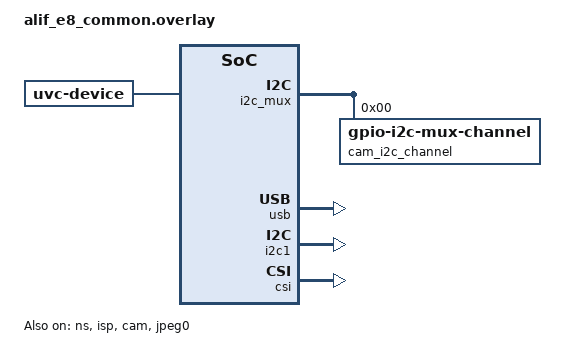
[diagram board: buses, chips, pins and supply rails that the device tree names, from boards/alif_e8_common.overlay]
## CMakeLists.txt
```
# Copyright (C) 2026 Alif Semiconductor
# SPDX-License-Identifier: Apache-2.0

cmake_minimum_required(VERSION 3.20.0)
find_package(Zephyr REQUIRED HINTS $ENV{ZEPHYR_BASE})
project(video_uvc)

include(${ZEPHYR_BASE}/samples/subsys/usb/common/common.cmake)
FILE(GLOB app_sources src/*c)
target_sources(app PRIVATE ${app_sources})
```

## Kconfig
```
# Copyright (C) 2026 Alif Semiconductor
# SPDX-License-Identifier: Apache-2.0

# Source common USB sample options used to initialize USB device stack.
source "samples/subsys/usb/common/Kconfig.sample_usbd"

source "Kconfig.zephyr"
```

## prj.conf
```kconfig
# Copyright (C) 2026 Alif Semiconductor
# SPDX-License-Identifier: Apache-2.0

# Video
CONFIG_VIDEO=y
CONFIG_LOG=y
CONFIG_PRINTK=y
CONFIG_STDOUT_CONSOLE=y
CONFIG_I2C=y
CONFIG_I2C_DW_CLOCK_SPEED=100
CONFIG_SYS_HEAP_AUTO=y

# USB device stack (new stack, required for DWC3) with the in-tree USB Video
# Class. The webcam is the "uvc" devicetree node (compatible zephyr,uvc-device)
# and streams from the connected video device (LP-CAM RGB565, or the JPEG
# encoder's MJPEG output on the E8).
CONFIG_USB_DEVICE_STACK_NEXT=y
CONFIG_USBD_VIDEO_CLASS=y
CONFIG_SAMPLE_USBD_PID=0x0009
CONFIG_SAMPLE_USBD_PRODUCT="Alif UVC Video Capture"
# Main thread runs the capture loop (and, on the E8 ISP+JPEG target, the ISP /
# JPEG library calls), so give it comfortable headroom.
CONFIG_MAIN_STACK_SIZE=4096

# The UVC class streams frames from its own buffer pool
# (CONFIG_USBD_VIDEO_NUM_BUFS); this pool serves the control endpoint and the
# USB device stack. The defaults have ample headroom for the control traffic.
CONFIG_UDC_BUF_POOL_SIZE=8192
CONFIG_UDC_BUF_COUNT=16

# Quiet the USB stack - keep warnings/errors but drop the per-transfer INFOs.
CONFIG_UDC_DRIVER_LOG_LEVEL_ERR=y
CONFIG_USBD_LOG_LEVEL_ERR=y

# Keep the video drivers (CPI / ISP / JPEG) at warning level. Raise to
# CONFIG_VIDEO_LOG_LEVEL_DBG=y only when diagnosing a capture-side issue - the
# ISP logs several messages per frame at debug level.
CONFIG_VIDEO_LOG_LEVEL_WRN=y
```

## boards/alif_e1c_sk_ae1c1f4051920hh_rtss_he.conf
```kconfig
# Video capture pool. SZ_MAX is the per-buffer max size (one RGB565 480x272
# frame = 261120 bytes, plus k_heap bookkeeping); NUM_MAX is the buffer count.
# The pool reserves NUM_MAX x SZ_MAX, so this is 2 x ~256K = ~512K. Two buffers
# are needed so the LP-CAM driver keeps one armed while the other is streamed
# over USB, avoiding a per-frame sensor power-cycle (see N_CAPTURE_BUFFERS in
# main.c). Lives in the NON_SECURE0 region (.overlay), which has room (768K).
CONFIG_VIDEO_BUFFER_POOL_SZ_MAX=262656
CONFIG_VIDEO_BUFFER_POOL_NUM_MAX=2
```

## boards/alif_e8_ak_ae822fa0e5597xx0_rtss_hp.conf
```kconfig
# E8 AK (RTSS-HP): MIPI CSI-2 sensor -> ISP -> JPEG encoder -> MJPEG over UVC.
#
# Applied automatically by board name for every E8 AK build. The devicetree
# plumbing lives in alif_e8_common.overlay, passed ahead of the sensor overlay.
# This file holds the Kconfig shared by all three sensors (ARX3A0 / MT9M114 /
# OV5675). The chosen sensor's overlay is passed with EXTRA_DTC_OVERLAY_FILE
# and its per-sensor .conf (arx3a0.conf / mt9m114.conf / ov5675.conf, which size
# the video buffer pool for that sensor's resolution) is passed with
# OVERLAY_CONFIG. There is no default sensor. See the README.

# Camera controller extended features (CSI-2 / ISP forwarding path).
CONFIG_VIDEO_ALIF_CAM_EXTENDED=y
CONFIG_MIPI_DSI=y

# Alif ISP (vsi_isp_pico) processing library. Demosaic + scaler are enough to
# turn the sensor's RAW10 Bayer into NV12; colour-correction / white-balance
# modules are left off to keep it lean.
CONFIG_USE_ALIF_ISP_LIB=y
CONFIG_ISP_LIB_SCALAR_MODULE=y
CONFIG_ISP_LIB_DMSC_MODULE=y
CONFIG_ISP_LIB_CCM_MODULE=n
CONFIG_ISP_LIB_WBM_MODULE=n
CONFIG_ISP_LIB_WB_MODULE=n

# Hantro VC9000E JPEG hardware encoder + its software helper library.
CONFIG_VIDEO_JPEG_HANTRO_VC9000E=y
CONFIG_USE_ALIF_JPEG_SW_LIB=y
```

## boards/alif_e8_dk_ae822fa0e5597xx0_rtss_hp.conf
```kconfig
# E8 DK (RTSS-HP): MIPI CSI-2 sensor -> ISP -> JPEG encoder -> MJPEG over UVC.
#
# Applied automatically by board name for every E8 DK build. The devicetree
# plumbing lives in alif_e8_common.overlay, passed ahead of the sensor overlay.
# This file holds the Kconfig shared by all three sensors (ARX3A0 / MT9M114 /
# OV5675). The chosen sensor's overlay is passed with EXTRA_DTC_OVERLAY_FILE
# and its per-sensor .conf (arx3a0.conf / mt9m114.conf / ov5675.conf, which size
# the video buffer pool for that sensor's resolution) is passed with
# OVERLAY_CONFIG. There is no default sensor. See the README.

# Camera controller extended features (CSI-2 / ISP forwarding path).
CONFIG_VIDEO_ALIF_CAM_EXTENDED=y
CONFIG_MIPI_DSI=y

# Alif ISP (vsi_isp_pico) processing library. Demosaic + scaler are enough to
# turn the sensor's RAW10 Bayer into NV12; colour-correction / white-balance
# modules are left off to keep it lean.
CONFIG_USE_ALIF_ISP_LIB=y
CONFIG_ISP_LIB_SCALAR_MODULE=y
CONFIG_ISP_LIB_DMSC_MODULE=y
CONFIG_ISP_LIB_CCM_MODULE=n
CONFIG_ISP_LIB_WBM_MODULE=n
CONFIG_ISP_LIB_WB_MODULE=n

# Hantro VC9000E JPEG hardware encoder + its software helper library.
CONFIG_VIDEO_JPEG_HANTRO_VC9000E=y
CONFIG_USE_ALIF_JPEG_SW_LIB=y
```

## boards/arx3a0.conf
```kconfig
# Extra Kconfig for the E8 DK ARX3A0 build. Pass with OVERLAY_CONFIG alongside
# the ARX3A0 DTC overlay (see README). The E8 board .conf (ISP lib + JPEG) is
# applied automatically by board name and still holds; this file only sizes the
# video buffer pool for the ARX3A0 pipeline.

# Video buffer pool for the 560x560 ARX3A0 pipeline. The pool holds TWO NV12
# 560x560 frames (2 x 560*560*1.5 = 940,800 B - two are needed so the ISP keeps
# capturing while one frame is JPEG-encoded and sent) plus one JPEG output
# buffer (width*height = 313,600 B), three allocations totalling ~1.25 MB.
# NUM_MAX is the buffer count (must be >= 3); SZ_MAX x NUM_MAX is the heap
# total, 470,000 x 3 = 1.41 MB, comfortably within SRAM0.
CONFIG_VIDEO_BUFFER_POOL_NUM_MAX=3
CONFIG_VIDEO_BUFFER_POOL_SZ_MAX=470000
```

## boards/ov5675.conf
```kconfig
# Extra Kconfig for the E8 DK OV5675 build. Pass with OVERLAY_CONFIG alongside
# the OV5675 DTC overlay (see README). The E8 board .conf (ISP lib + scaler +
# JPEG) is applied automatically by board name and still holds; this file only
# resizes the video buffer pool for the OV5675 pipeline.
#
# Unlike the MT9M114, the OV5675 module is powered by plain power-gpios on the
# sensor node (no fixed regulator) and sits at I2C address 0x10, which does not
# collide with the MW405 display's GT911 touch controller. So this build needs
# neither CONFIG_REGULATOR nor the GT911 reset-hold GPIO hog / CONFIG_GPIO_HOGS.

# Video buffer pool for the OV5675 pipeline. The OV5675 streams its full-FOV
# 1296x972 RAW10 mode; the ISP scaler downscales it to 1024x768 NV12 (see the
# overlay). The pool holds TWO NV12 1024x768 frames (2 x 1024*768*1.5 =
# 2,359,296 B - two are needed so the ISP keeps capturing while one frame is
# JPEG-encoded and sent) plus the JPEG output buffer (width*height = 786,432 B).
# That is three allocations totalling ~3.15 MB, so NUM_MAX must be >= 3.
# SZ_MAX x NUM_MAX is the total heap: 1,150,000 x 3 = 3.45 MB holds all three
# with headroom and fits SRAM0 (4 MB).
CONFIG_VIDEO_BUFFER_POOL_SZ_MAX=1150000
CONFIG_VIDEO_BUFFER_POOL_NUM_MAX=3
```

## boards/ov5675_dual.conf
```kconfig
# Extra Kconfig for the E8 DK dual OV5675 build. Pass with EXTRA_CONF_FILE
# alongside the dual OV5675 DTC overlay (see README). The E8 board .conf (ISP
# lib + scaler + JPEG) is applied automatically by board name and still holds.

# Video buffer pool for the dual OV5675 pipeline. The two sensors share the
# capture pipeline and are captured one frame at a time, so one NV12 1024x768
# capture buffer (1,179,648 B) is enough; each camera has its own JPEG output
# buffer (2 x 786,432 B) so one frame can be streamed over USB while the other
# camera captures. That is three allocations totalling ~2.75 MB, so NUM_MAX
# must be >= 3. SZ_MAX x NUM_MAX is the total heap: 1,150,000 x 3 = 3.45 MB
# holds all three with headroom and fits SRAM0 (4 MB).
CONFIG_VIDEO_BUFFER_POOL_SZ_MAX=1150000
CONFIG_VIDEO_BUFFER_POOL_NUM_MAX=3

# The D-PHY driver logs every camera switch at info level; switching happens on
# every frame here.
CONFIG_MIPI_DPHY_LOG_LEVEL_WRN=y
```

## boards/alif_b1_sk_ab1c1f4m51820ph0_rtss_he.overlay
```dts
/* Copyright (C) 2026 Alif Semiconductor - All Rights Reserved.
 * Use, distribution and modification of this code is permitted under the
 * terms stated in the Alif Semiconductor Software License Agreement
 *
 * You should have received a copy of the Alif Semiconductor Software
 * License Agreement with this file. If not, please write to:
 * contact@alifsemi.com, or visit: https://alifsemi.com/license
 *
 * B1 SK UVC pipeline: OV5640 (parallel) -> LP-CAM -> RGB565 480x272 -> UVC.
 *
 * The board-specific part is only the pinctrl header; the whole pipeline is
 * shared with the E1C SK in lpcam_ov5640_uvc.dtsi (included below).
 */

#include <dt-bindings/pinctrl/balletto-pinctrl.h>

#include "lpcam_ov5640_uvc.dtsi"
```

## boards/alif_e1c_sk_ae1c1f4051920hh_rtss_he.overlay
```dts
/* Copyright (C) 2026 Alif Semiconductor - All Rights Reserved.
 * Use, distribution and modification of this code is permitted under the
 * terms stated in the Alif Semiconductor Software License Agreement
 *
 * You should have received a copy of the Alif Semiconductor Software
 * License Agreement with this file. If not, please write to:
 * contact@alifsemi.com, or visit: https://alifsemi.com/license
 *
 * E1C SK UVC pipeline: OV5640 (parallel) -> LP-CAM -> RGB565 480x272 -> UVC.
 *
 * The board-specific part is only the pinctrl header; the whole pipeline is
 * shared with the B1 SK in lpcam_ov5640_uvc.dtsi (included below).
 */

#include <dt-bindings/pinctrl/ensemble-e1c-pinctrl.h>

#include "lpcam_ov5640_uvc.dtsi"
```

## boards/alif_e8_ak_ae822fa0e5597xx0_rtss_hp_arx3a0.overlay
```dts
/* Copyright (C) 2026 Alif Semiconductor - All Rights Reserved.
 * Use, distribution and modification of this code are permitted under the
 * terms stated in the Alif Semiconductor Software License Agreement.
 *
 * You should have received a copy of the Alif Semiconductor Software
 * License Agreement with this file. If not, please write to:
 * contact@alifsemi.com, or visit: https://alifsemi.com/license
 *
 */

#include "alif_e8_common.overlay"
#include "alif_e8_common_arx3a0.overlay"
```

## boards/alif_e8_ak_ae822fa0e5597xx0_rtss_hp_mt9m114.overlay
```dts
/* Copyright (C) 2026 Alif Semiconductor - All Rights Reserved.
 * Use, distribution and modification of this code are permitted under the
 * terms stated in the Alif Semiconductor Software License Agreement.
 *
 * You should have received a copy of the Alif Semiconductor Software
 * License Agreement with this file. If not, please write to:
 * contact@alifsemi.com, or visit: https://alifsemi.com/license
 *
 */

#include "alif_e8_common.overlay"
#include "alif_e8_common_mt9m114.overlay"
```

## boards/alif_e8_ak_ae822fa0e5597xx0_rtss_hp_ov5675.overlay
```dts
/* Copyright (C) 2026 Alif Semiconductor - All Rights Reserved.
 * Use, distribution and modification of this code are permitted under the
 * terms stated in the Alif Semiconductor Software License Agreement.
 *
 * You should have received a copy of the Alif Semiconductor Software
 * License Agreement with this file. If not, please write to:
 * contact@alifsemi.com, or visit: https://alifsemi.com/license
 *
 */

#include "alif_e8_common.overlay"
#include "alif_e8_common_ov5675.overlay"
```

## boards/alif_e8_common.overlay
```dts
/* Copyright (C) 2026 Alif Semiconductor - All Rights Reserved.
 * Use, distribution and modification of this code are permitted under the
 * terms stated in the Alif Semiconductor Software License Agreement.
 *
 * You should have received a copy of the Alif Semiconductor Software
 * License Agreement with this file. If not, please write to:
 * contact@alifsemi.com, or visit: https://alifsemi.com/license
 *
 * E8 DK/AK (RTSS-HP) UVC pipeline - common board plumbing shared by all sensors.
 *
 * Passed with EXTRA_DTC_OVERLAY_FILE ahead of the sensor overlay (it is not
 * applied by board name). It holds everything that is identical for the
 * ARX3A0 / MT9M114 / OV5675 pipelines: the USB device controller, the
 * non-secure DTCM region, the AIPM run profile (PHY / clock gating), the ISP
 * and camera (CPI) forwarding graph, the CSI receiver (minus the sensor-facing
 * input endpoint), the i2c-mux that carries the camera I2C, the Hantro JPEG
 * encoder and the UVC device.
 *
 * It deliberately wires NO sensor: the E8 DK/AK has no default camera. Pick one by
 * listing its sensor overlay after this file in EXTRA_DTC_OVERLAY_FILE
 * (alif_e8_common_arx3a0 / _mt9m114 / _ov5675 - see the README). The sensor
 * overlay drops the sensor node into the i2c-mux channel (&cam_i2c_channel) and
 * supplies the CSI input endpoint (&csi port@0) with the sensor's lane count.
 */

#include <dt-bindings/pinctrl/ensemble-pinctrl.h>
#include <dt-bindings/i2c/i2c.h>
#include <dt-bindings/gpio/gpio.h>
#include <dt-bindings/video/video-interfaces.h>
#include <zephyr/dt-bindings/clock/alif_ensemble_clocks.h>
#include <dt-bindings/misc/alif_aipm_common.h>

/*
 * AIPM run profile. On the Ensemble gen2 (E8) the SE run profile - including
 * which PHYs are powered - is driven from this devicetree node, not only from
 * the app-code se_service call. The default leaves phy-pwr-gating at 0, so the
 * USB PHY is unpowered and the DWC3 controller cannot complete control
 * transfers (the host sees a high-speed device but every GET_DESCRIPTOR fails).
 * Power the USB PHY here, together with the MIPI D-PHY the CSI-2 link needs and
 * the camera / CSI IP clocks, so both the camera pipeline and USB come up
 * regardless of which mechanism is authoritative.
 */
&aipm_run_default {
	phy-pwr-gating = <(ALIF_PHY_GATE_LDO_MASK |
			   ALIF_PHY_GATE_USB_MASK |
			   ALIF_PHY_GATE_MIPI_TX_DPHY_MASK |
			   ALIF_PHY_GATE_MIPI_RX_DPHY_MASK |
			   ALIF_PHY_GATE_MIPI_PLL_DPHY_MASK)>;
	ip-clock-gating = <(ALIF_IP_CLK_GATE_CAMERA_MASK |
			    ALIF_IP_CLK_GATE_MIPI_DSI_MASK |
			    ALIF_IP_CLK_GATE_MIPI_CSI_MASK)>;
};

/*
 * Enable the NON_SECURE0 region (DTCM). This is REQUIRED for USB: the DWC3
 * controller is a bus master that issues non-secure accesses, so its DMA
 * structures (event buffer, TRBs, setup packet, the UDC net_buf pool) must
 * live in non-secure memory. The SoC linker fragment alif_ns.ld collects those
 * USB/UDC buffers into NON_SECURE0 only when this node is enabled; leaving it
 * disabled leaves them in secure DTCM, the controller cannot read/write them,
 * and enumeration fails (host: descriptor read error -71 / -110).
 *
 * The video capture / JPEG buffers stay in SRAM0 (claimed there by sram.ld,
 * which the ISP and JPEG masters can access), so the large NV12 + JPEG pool
 * does not need to fit in this small DTCM window - only the USB buffers land
 * here. NON_SECURE0 must remain in DTCM: the boot-time TGU setup
 * (modules/hal/alif tgu.c) marks it non-secure using DTCM-relative block
 * indices, so an SRAM base would corrupt the TGU LUT.
 */
&ns {
	status = "okay";
};

/*
 * USB device controller (DWC3). The E8 SoC devicetree already provides this
 * node: it is inherited from e1.dtsi (via e3_e5_e7.dtsi -> e4_e6_e8.dtsi, which
 * also overrides num-out-eps/num-in-eps to 5/11 for the E8), and is only left
 * status = "disabled" by default. So, exactly like the E1C/B1 sample overlays,
 * just enable it here and label it zephyr_udc0 so the USB device stack picks it
 * up. The clocks are re-listed to add the SDC gate alongside the USB clock.
 */
zephyr_udc0: &usb {
	clocks = <&clockctrl ALIF_SDC_CLK>, <&clockctrl ALIF_USB_CLK>;
	status = "okay";
};

/*
 * Camera I2C bus. Sensors that need Fast-mode I2C (MT9M114, OV5675) raise the
 * speed in their own overlay; the ARX3A0 runs at the default Standard speed.
 */
&i2c1 {
	status = "okay";
};

&gpio7 {
	status = "okay";
};

&gpio14 {
	status = "okay";
};

/*
 * GPIO-controlled I2C mux that fronts the camera bus. The sensor node is added
 * to the mux channel (&cam_i2c_channel) by the sensor overlay; the mux and
 * channel scaffolding are identical for every sensor.
 */
/ {
	i2c_mux: i2c-mux {
		compatible = "gpio-i2c-mux";
		status = "okay";
		#address-cells = <1>;
		#size-cells = <0>;

		i2c-inst = <&i2c1>;

		ctrl-gpios = <&gpio14 3 GPIO_ACTIVE_HIGH>;

		cam_i2c_channel: mux_i2c@0 {
			compatible = "gpio-i2c-mux-channel";
			reg = <0>;

			#address-cells = <1>;
			#size-cells = <0>;

			/* Sensor node is added here by the sensor overlay. */
		};
	};
};

&isp {
	status = "okay";

	port {
		isp_ep_in: endpoint {
			remote-endpoint-label = "cam_isp_ep_out";
		};
	};
};

&cam {
	status = "okay";

	pinctrl-0 = <&pinctrl_cam_xvclk>;
	pinctrl-names = "default";

	ports {
		#address-cells = <1>;
		#size-cells = <0>;

		/* MIPI CSI-2 bus endpoint. */
		port@0 {
			reg = <0>;
			cam_csi2_ep_in: endpoint {
				remote-endpoint-label = "csi2_ep_out";
			};
		};

		/* ISP Interface. */
		port@2 {
			reg = <2>;
			cam_isp_ep_out: endpoint {
				remote-endpoint-label = "isp_ep_in";
			};
		};
	};
};

&csi {
	status = "okay";

	/*
	 * Selfie camera D-PHY. The sensor-facing input endpoint (port@0) is
	 * supplied by the sensor overlay, because its data-lane count (and the
	 * remote endpoint it links to) differ per sensor. port@2 (the parallel
	 * hand-off to the CPI) is the same for every sensor and lives here.
	 */
	phy-if = <&dphy 0>;
	ports {
		#address-cells = <1>;
		#size-cells = <0>;
		port@2 {
			reg = <2>;
			csi2_ep_out: endpoint {
				remote-endpoint-label = "cam_csi2_ep_in";
				bus-type = <VIDEO_BUS_TYPE_PARALLEL>;
			};
		};
	};
};

/* Hantro VC9000E JPEG hardware encoder. */
&jpeg0 {
	status = "okay";
	quality-factor = <75>;
	max-burst-length = <64>;
};

/* In-tree USB Video Class webcam (streams the JPEG encoder's MJPEG output). */
/ {
	uvc: uvc {
		compatible = "zephyr,uvc-device";
	};
};
```

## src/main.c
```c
/*
 * Copyright (C) 2026 Alif Semiconductor.
 * SPDX-License-Identifier: Apache-2.0
 *
 * Camera capture exposed as a USB Video Class (UVC) webcam. The capture
 * pipeline is chosen at build time from the devicetree (see pipeline.h):
 *
 *   - MJPEG (E8 DK):  <sensor> -> CSI -> ISP (NV12) -> Hantro JPEG encoder,
 *     streamed as MJPEG over the UVC bulk endpoint.
 *   - RGB565 (E1C / B1 SK): OV5640 parallel RGB565 480x272 off the LP-CAM,
 *     streamed uncompressed.
 *
 * The in-tree UVC class (CONFIG_USBD_VIDEO_CLASS, devicetree node "uvc")
 * generates its USB descriptors from the video device it is bound to: the JPEG
 * encoder (advertising MJPEG) on the E8, or the LP-CAM (advertising RGB565) on
 * the E1C / B1. The application configures the capture pipeline, then shuttles
 * finished frames into the UVC device with video_enqueue()/video_dequeue();
 * the host pulls frames at its own pace, which throttles the capture loop.
 */

#include "pipeline.h"
#if UVC_OUTPUT_MJPEG
#include "jpeg_encode.h"
#endif

#include <sample_usbd.h>

#include <zephyr/kernel.h>
#include <zephyr/device.h>
#include <zephyr/cache.h>
#include <zephyr/drivers/video.h>
#include <zephyr/usb/usbd.h>
#include <zephyr/usb/class/usbd_uvc.h>

#include <zephyr/logging/log.h>
LOG_MODULE_REGISTER(video_usbout_uvc, LOG_LEVEL_INF);

/* The in-tree UVC class instance (devicetree node "uvc"). */
static const struct device *const uvc_dev = DEVICE_DT_GET(DT_NODELABEL(uvc));

/*
 * Number of capture buffers kept in flight. Both the ISP and the LP-CAM stop
 * the sensor as soon as their input FIFO drains, so with a single buffer the
 * sensor is restarted every frame and the rate collapses to ~1 fps. Two buffers
 * keep one armed in the driver while the other is encoded and streamed over USB,
 * so capture overlaps with encode+send and runs continuously.
 *
 * On the MJPEG targets these two NV12 buffers plus the separate JPEG output
 * buffer all come from the video buffer pool, so CONFIG_VIDEO_BUFFER_POOL_NUM_MAX
 * must be >= 3.
 *
 * The dual camera build captures the two sensors in turn and has to stop the
 * pipeline between frames to switch sensor, so a single NV12 buffer is enough
 * there; the pool instead holds one JPEG output buffer per camera.
 */
#if UVC_DUAL_CAMERA
#define N_CAPTURE_BUFFERS 1
#else
#define N_CAPTURE_BUFFERS 2
#endif

/*
 * Upper bound on how long a dequeue may block. In continuous streaming a frame
 * arrives every sensor period; the generous 2 s ceiling only trips if capture
 * stalled or the host closed the stream, in which case the session is torn down
 * and restarted.
 */
#define CAPTURE_TIMEOUT_MS 2000
#define CAPTURE_TIMEOUT K_MSEC(CAPTURE_TIMEOUT_MS)

#if UVC_OUTPUT_MJPEG
static const struct device *jpeg_dev;
/* One JPEG output buffer per camera, so a camera can capture while the other's
 * frame is still being streamed.
 */
static struct video_buffer *jpeg_op_bufs[UVC_NUM_CAMERAS];
#endif

#if UVC_DUAL_CAMERA
/* UVC device per camera, indexed by the CSI sensor id. */
static const struct device *const uvc_cam_devs[UVC_NUM_CAMERAS] = {
	DEVICE_DT_GET(DT_NODELABEL(uvc)),
	DEVICE_DT_GET(DT_NODELABEL(uvc_standard)),
};
static const char *const camera_names[UVC_NUM_CAMERAS] = { "selfie", "standard" };
/* Camera controller (CPI) between the CSI receiver and the ISP. */
static const struct device *const cam_ctrl = DEVICE_DT_GET(DT_NODELABEL(cam));
#endif

/*
 * Cleared while the cable is unplugged or the bus is suspended. The host cannot
 * read frames then, but the UVC class only learns that the stream ended at the
 * next bus reset, so the capture loop checks this as well.
 */
static atomic_t usb_bus_active = ATOMIC_INIT(1);

static void usbd_msg_cb(struct usbd_context *const ctx, const struct usbd_msg *const msg)
{
	ARG_UNUSED(ctx);

	switch (msg->type) {
	case USBD_MSG_VBUS_REMOVED:
	case USBD_MSG_SUSPEND:
		if (atomic_set(&usb_bus_active, 0) != 0) {
			LOG_INF("USB %s",
				msg->type == USBD_MSG_SUSPEND ? "suspended" : "unplugged");
		}
		break;
	case USBD_MSG_VBUS_READY:
	case USBD_MSG_RESUME:
		atomic_set(&usb_bus_active, 1);
		break;
	default:
		break;
	}
}

/* True while the host has an open (committed) stream it can read on @p uvc. */
static inline bool uvc_stream_open(const struct device *uvc)
{
	struct video_format neg;

	return atomic_get(&usb_bus_active) != 0 &&
	       video_get_format(uvc, VIDEO_EP_OUT, &neg) == 0;
}

#if UVC_DUAL_CAMERA
static int select_camera(const struct device *video, uint8_t cam)
{
	int ret = video_set_ctrl(video, VIDEO_CID_ALIF_CSI_CURR_CAM, &cam);

	if (ret) {
		LOG_ERR("Failed to select the %s camera: %d", camera_names[cam], ret);
	}
	return ret;
}

/*
 * Program the selfie sensor and bring up its D-PHY once the standard camera has
 * been configured through the ISP. The ISP caches its input format and skips a
 * set_format matching it, so the (identical) sensor format is pushed through
 * the camera controller directly while the selfie camera is selected.
 */
static int configure_selfie_camera(const struct device *video,
				   const struct video_format *in_fmt)
{
	struct video_format fmt = *in_fmt;
	int ret;

	ret = select_camera(video, 0);
	if (ret) {
		return ret;
	}

	ret = video_set_format(cam_ctrl, VIDEO_EP_OUT, &fmt);
	if (ret) {
		LOG_ERR("Failed to set the selfie camera format: %d", ret);
	}
	return ret;
}
#endif /* UVC_DUAL_CAMERA */

/*
 * Configure the capture format. On MJPEG targets the ISP input (sensor) format
 * must be set before the output format, or stream_start fails with -EINVAL.
 */
static int configure_capture_pipeline(const struct device *video)
{
	struct video_format fmt = {
		.pixelformat = CAPTURE_FORMAT,
		.width = CAPTURE_WIDTH,
		.height = CAPTURE_HEIGHT,
		.pitch = CAPTURE_PITCH,
	};
	int ret;

#if UVC_OUTPUT_MJPEG
	struct video_format in_fmt = {
		.pixelformat = ISP_INPUT_FORMAT,
		.width = ISP_INPUT_WIDTH,
		.height = ISP_INPUT_HEIGHT,
		.pitch = ISP_INPUT_PITCH,
	};

#if UVC_DUAL_CAMERA
	/*
	 * Bring up the standard camera's D-PHY (the DSI D-PHY in RX mode)
	 * before the selfie camera's CSI D-PHY.
	 */
	ret = select_camera(video, 1);
	if (ret) {
		return ret;
	}
#endif

	ret = video_set_format(video, VIDEO_EP_IN, &in_fmt);
	if (ret) {
		LOG_ERR("Failed to set ISP input format: %d", ret);
		return ret;
	}
	LOG_INF("- ISP input format: Y10P %ux%u", ISP_INPUT_WIDTH, ISP_INPUT_HEIGHT);
#endif

#if UVC_DUAL_CAMERA
	ret = configure_selfie_camera(video, &in_fmt);
	if (ret) {
		return ret;
	}
	LOG_INF("- standard and selfie cameras configured");
#endif

	ret = video_set_format(video, VIDEO_EP_OUT, &fmt);
	if (ret) {
		LOG_ERR("Failed to set capture format: %d", ret);
		return ret;
	}
	LOG_INF("- capture format: %s %ux%u",
		VIDEO_FOURCC_TO_STR(CAPTURE_FORMAT), fmt.width, fmt.height);

	return 0;
}

#if UVC_OUTPUT_MJPEG
/*
 * Bring up the JPEG encoder and allocate its output buffer. The encoder's input
 * format is published before USB is enabled: the UVC class reads the encoder's
 * MJPEG output capability during usbd_enable() to build its descriptors, so this
 * makes the class advertise MJPEG at exactly CAPTURE_WIDTH x CAPTURE_HEIGHT.
 */
static int configure_jpeg_encoder(void)
{
	struct video_format enc_in = {
		.pixelformat = CAPTURE_FORMAT,
		.width = CAPTURE_WIDTH,
		.height = CAPTURE_HEIGHT,
		.pitch = JPEG_INPUT_PITCH,
	};
	int ret;

	jpeg_dev = DEVICE_DT_GET(DT_NODELABEL(jpeg0));
	if (!device_is_ready(jpeg_dev)) {
		LOG_ERR("JPEG encoder not ready");
		return -ENODEV;
	}

	ret = video_set_format(jpeg_dev, VIDEO_EP_IN, &enc_in);
	if (ret) {
		LOG_ERR("Failed to set JPEG encoder input format: %d", ret);
		return ret;
	}

	for (size_t i = 0; i < UVC_NUM_CAMERAS; i++) {
		jpeg_op_bufs[i] = video_buffer_aligned_alloc(JPEG_OUTPUT_MAX_BYTES,
							     CAPTURE_BUF_ALIGN, K_NO_WAIT);
		if (jpeg_op_bufs[i] == NULL) {
			LOG_ERR("Unable to alloc JPEG output buffer %zu", i);
			return -ENOMEM;
		}
		LOG_INF("- JPEG output buffer %zu: %u bytes at 0x%08x", i,
			(unsigned int)JPEG_OUTPUT_MAX_BYTES, (uint32_t)jpeg_op_bufs[i]->buffer);
	}

	return 0;
}
#endif /* UVC_OUTPUT_MJPEG */

/* Allocate the capture buffers into the caller's array. */
static int alloc_capture_buffers(struct video_buffer *bufs[], size_t n)
{
	for (size_t i = 0; i < n; i++) {
		bufs[i] = video_buffer_aligned_alloc(CAPTURE_FRAME_BYTES,
						     CAPTURE_BUF_ALIGN, K_NO_WAIT);
		if (bufs[i] == NULL) {
			LOG_ERR("Unable to alloc capture buffer %zu", i);
			return -ENOMEM;
		}
		LOG_INF("- capture buffer %zu: %u bytes at 0x%08x",
			i, (unsigned int)CAPTURE_FRAME_BYTES, (uint32_t)bufs[i]->buffer);
	}

	return 0;
}

/*
 * Set when capture could not be stopped or a buffer could not be reclaimed. A
 * driver may then still own a buffer, so capture ends for good: nothing is
 * enqueued again and no other sensor is selected.
 */
static bool capture_halted;

/*
 * video_stream_stop() with the result of its cancelling flush checked:
 * video_stream_stop() discards it, and with a single ISP buffer that flush does
 * the remaining ISP shutdown. The flush cancels because after a failed start the
 * pipeline may be stopped with a buffer still armed, and a draining flush would
 * wait for it forever.
 */
static int video_stop_checked(const struct device *dev)
{
	const struct video_driver_api *api = dev->api;
	int flush_ret;
	int ret;

	if (api->set_stream == NULL) {
		return -ENOSYS;
	}

	ret = api->set_stream(dev, false);
	flush_ret = video_flush(dev, VIDEO_EP_ALL, true);

	return ret ? ret : flush_ret;
}

/*
 * Stop the capture pipeline. On the dual camera build the other sensor may only
 * be selected once the camera controller and sensor have stopped. With a single
 * buffer the ISP's frame-end worker stops them itself without reporting a
 * failure, so the controller stop is repeated: it returns 0 once the controller
 * and sensor are stopped, and retries the stop and returns its error otherwise.
 */
static int capture_stream_stop(const struct device *video)
{
	int ret = video_stop_checked(video);

#if UVC_DUAL_CAMERA
	int cam_ret = video_stop_checked(cam_ctrl);

	if (ret == 0) {
		ret = cam_ret;
	}
#endif
	return ret;
}

/* Stop capture and reclaim every buffer still held by the capture driver. */
static int capture_stop_and_drain(const struct device *video)
{
	struct video_buffer *vbuf;
	int ret;

	ret = capture_stream_stop(video);
	while (video_dequeue(video, VIDEO_EP_OUT, &vbuf, K_NO_WAIT) == 0) {
		/* Drain the driver FIFOs; buffers live in the caller's array. */
	}

	if (ret) {
		LOG_ERR("Capture recovery failed (%d), capture halted", ret);
		capture_halted = true;
	}
	return ret;
}

#if !UVC_DUAL_CAMERA
/*
 * Start a capture session: enqueue every buffer up front and start the stream
 * once. With more than one buffer armed the driver re-arms the next buffer at
 * end-of-frame instead of stopping the sensor, so capture runs continuously.
 */
static int capture_session_start(const struct device *video,
				 struct video_buffer *bufs[], size_t n)
{
	int ret;

	for (size_t i = 0; i < n; i++) {
		ret = video_enqueue(video, VIDEO_EP_OUT, bufs[i]);
		if (ret) {
			LOG_ERR("Unable to enqueue buffer %zu: %d", i, ret);
			return ret;
		}
	}

	ret = video_stream_start(video);
	if (ret) {
		LOG_ERR("Unable to start capture: %d", ret);
		return ret;
	}

	LOG_INF("Capture session started (%zu buffers)", n);
	return 0;
}

/* Set while the frame handed to the UVC class has not been dequeued back. */
static bool uvc_send_in_flight;

/*
 * Stop the current capture session and reclaim every buffer, both from the
 * capture driver and from the UVC class (a frame may be left in flight when the
 * host stops pulling). After this the buffers are owned by the application again
 * and can be re-enqueued next session. Safe whether or not either side is still
 * streaming. If either side keeps a buffer, capture is halted.
 */
static void capture_session_teardown(const struct device *video)
{
	struct video_buffer *vbuf;
	int ret;

	capture_stop_and_drain(video);

	if (!uvc_send_in_flight) {
		return;
	}

	/*
	 * Abort the UVC transfer. The class returns the frame from the transfer's
	 * completion callback, once the USB controller has stopped accessing it.
	 */
	ret = video_flush(uvc_dev, VIDEO_EP_IN, true);
	if (ret == 0) {
		ret = video_dequeue(uvc_dev, VIDEO_EP_OUT, &vbuf, CAPTURE_TIMEOUT);
	}
	if (ret) {
		LOG_ERR("UVC frame not reclaimed (%d), capture halted", ret);
		capture_halted = true;
		return;
	}
	uvc_send_in_flight = false;
}

/*
 * Re-arm a capture buffer. Re-issue stream_start too: it is a no-op (-EBUSY)
 * while the pipeline is still running, and restarts it if it stopped because
 * the FIFO briefly drained.
 */
static int rearm_capture(const struct device *video, struct video_buffer *vbuf)
{
	int ret;

	ret = video_enqueue(video, VIDEO_EP_OUT, vbuf);
	if (ret) {
		LOG_ERR("capture re-enqueue failed (%d)", ret);
		return ret;
	}

	ret = video_stream_start(video);
	if (ret && ret != -EBUSY) {
		LOG_ERR("capture restart failed (%d)", ret);
		return ret;
	}

	return 0;
}

/*
 * Capture one frame, (encode it on MJPEG targets,) push it to the host, and
 * re-arm the buffer. Returns 0 to keep streaming, or a negative errno when the
 * session should be torn down (capture stalled or the host closed the stream).
 */
static int capture_and_send(const struct device *video)
{
	struct video_buffer *vbuf;
	struct video_buffer *send_buf;
	struct video_buffer *sent;
	size_t send_len;
	int ret;

	ret = video_dequeue(video, VIDEO_EP_OUT, &vbuf, CAPTURE_TIMEOUT);
	if (ret) {
		LOG_WRN("capture dequeue failed (%d), restarting session", ret);
		return ret;
	}

	/*
	 * The capture drivers do cache maintenance on enqueue only (before DMA),
	 * so invalidate to read the freshly DMA'd frame, not stale cache lines.
	 */
	sys_cache_data_invd_range(vbuf->buffer, CAPTURE_FRAME_BYTES);

#if UVC_OUTPUT_MJPEG
	ret = jpeg_encode(jpeg_dev, vbuf, jpeg_op_bufs[0], &send_len);
	if (ret) {
		LOG_ERR("JPEG encode failed (%d), skipping frame", ret);
		/* Re-arm the buffer and keep the session running. */
		return rearm_capture(video, vbuf);
	}
	send_buf = jpeg_op_bufs[0];
#else
	send_buf = vbuf;
	send_len = CAPTURE_FRAME_BYTES;
#endif
	send_buf->bytesused = send_len;

	/*
	 * Hand the frame to the UVC class and wait for it to be streamed. The
	 * host pulls at its own pace, so this dequeue throttles the loop; a
	 * timeout means the host stalled or closed the stream.
	 */
	ret = video_enqueue(uvc_dev, VIDEO_EP_IN, send_buf);
	if (ret) {
		LOG_ERR("UVC enqueue failed (%d)", ret);
		return ret;
	}
	uvc_send_in_flight = true;

	ret = video_dequeue(uvc_dev, VIDEO_EP_OUT, &sent, CAPTURE_TIMEOUT);
	if (ret) {
		LOG_INF("UVC send timed out (%d), stream likely closed", ret);
		return ret;
	}
	uvc_send_in_flight = false;

	/* Re-arm this buffer for another capture. */
	return rearm_capture(video, vbuf);
}
#endif /* !UVC_DUAL_CAMERA */

#if UVC_DUAL_CAMERA
/*
 * Set while a camera's JPEG buffer is owned by its UVC device. It is cleared
 * only once the buffer has been dequeued back, so it is never re-encoded while
 * USB may still be reading it.
 */
static bool jpeg_in_flight[UVC_NUM_CAMERAS];
/* Uptime when the in-flight buffer was queued, or when its reclaim last failed. */
static int64_t jpeg_queued_at[UVC_NUM_CAMERAS];

/* Take back a camera's JPEG buffer if the UVC device has finished with it. */
static bool uvc_camera_buffer_free(uint8_t cam)
{
	struct video_buffer *vbuf;

	if (jpeg_in_flight[cam] &&
	    video_dequeue(uvc_cam_devs[cam], VIDEO_EP_OUT, &vbuf, K_NO_WAIT) == 0) {
		jpeg_in_flight[cam] = false;
	}
	return !jpeg_in_flight[cam];
}

/* True once a camera's JPEG buffer has been held by USB for CAPTURE_TIMEOUT. */
static bool uvc_camera_send_expired(uint8_t cam)
{
	return k_uptime_get() - jpeg_queued_at[cam] >= CAPTURE_TIMEOUT_MS;
}

/*
 * Abort a camera's UVC transfer and take its JPEG buffer back. The UVC class
 * only returns the buffer once the USB controller has stopped accessing it. If
 * the transfer cannot be cancelled or the buffer is not returned, it stays in
 * flight and the reset is retried after another CAPTURE_TIMEOUT.
 */
static void uvc_camera_stream_reset(uint8_t cam)
{
	struct video_buffer *vbuf;
	int ret;

	if (!jpeg_in_flight[cam]) {
		return;
	}

	ret = video_flush(uvc_cam_devs[cam], VIDEO_EP_IN, true);
	if (ret) {
		LOG_ERR("%s camera: UVC flush failed (%d)", camera_names[cam], ret);
		jpeg_queued_at[cam] = k_uptime_get();
		return;
	}

	/* A cancelled transfer returns the buffer from its completion callback. */
	ret = video_dequeue(uvc_cam_devs[cam], VIDEO_EP_OUT, &vbuf, K_MSEC(50));
	if (ret) {
		LOG_ERR("%s camera: JPEG buffer not returned by UVC (%d)",
			camera_names[cam], ret);
		jpeg_queued_at[cam] = k_uptime_get();
		return;
	}
	jpeg_in_flight[cam] = false;
}

/*
 * Capture one frame from @p cam into @p capbuf. The ISP stops the pipeline once
 * its only buffer is filled, and only a stopped pipeline can be switched to the
 * other sensor, so every frame is a short start/capture/stop cycle.
 */
static int capture_camera_frame(const struct device *video, uint8_t cam,
				struct video_buffer *capbuf)
{
	struct video_buffer *vbuf;
	int ret;

	ret = select_camera(video, cam);
	if (ret) {
		return ret;
	}

	ret = video_enqueue(video, VIDEO_EP_OUT, capbuf);
	if (ret) {
		LOG_ERR("%s camera: capture enqueue failed (%d)", camera_names[cam], ret);
		return ret;
	}

	ret = video_stream_start(video);
	if (ret) {
		LOG_ERR("%s camera: capture start failed (%d)", camera_names[cam], ret);
		capture_stop_and_drain(video);
		return ret;
	}

	ret = video_dequeue(video, VIDEO_EP_OUT, &vbuf, CAPTURE_TIMEOUT);
	if (ret) {
		LOG_WRN("%s camera: capture dequeue failed (%d)", camera_names[cam], ret);
		capture_stop_and_drain(video);
		return ret;
	}

	sys_cache_data_invd_range(vbuf->buffer, CAPTURE_FRAME_BYTES);

	/*
	 * capture_stream_stop() stops the pipeline and flushes the driver. A
	 * switch to the other sensor is only valid once that has finished, so a
	 * failed stop drops the frame, and halts capture if the retry fails too.
	 * Drain anything the flush queued; the captured frame was already
	 * dequeued above.
	 */
	ret = capture_stream_stop(video);
	if (ret) {
		LOG_ERR("%s camera: capture stop failed (%d)", camera_names[cam], ret);
		capture_stop_and_drain(video);
		return ret;
	}
	while (video_dequeue(video, VIDEO_EP_OUT, &vbuf, K_NO_WAIT) == 0) {
	}

	return 0;
}

/*
 * Capture, encode and queue one frame of @p cam on its UVC device. The caller
 * makes sure the camera's JPEG buffer is free; the frame is then streamed while
 * the other camera captures.
 */
static int stream_camera_frame(const struct device *video, uint8_t cam,
			       struct video_buffer *capbuf)
{
	struct video_buffer *jpeg_buf = jpeg_op_bufs[cam];
	size_t len;
	int ret;

	ret = capture_camera_frame(video, cam, capbuf);
	if (ret) {
		return ret;
	}

	ret = jpeg_encode(jpeg_dev, capbuf, jpeg_buf, &len);
	if (ret) {
		LOG_ERR("%s camera: JPEG encode failed (%d), skipping frame",
			camera_names[cam], ret);
		return 0;
	}
	jpeg_buf->bytesused = len;

	ret = video_enqueue(uvc_cam_devs[cam], VIDEO_EP_IN, jpeg_buf);
	if (ret) {
		LOG_ERR("%s camera: UVC enqueue failed (%d)", camera_names[cam], ret);
		return ret;
	}
	jpeg_in_flight[cam] = true;
	jpeg_queued_at[cam] = k_uptime_get();

	return 0;
}

/*
 * Serve both webcams, alternating frames between the cameras that are open. A
 * camera whose previous frame is still being read by the host is skipped rather
 * than waited for, so a slow or stalled reader does not hold back the other
 * webcam. Returns only if capture is halted.
 */
static int dual_camera_loop(const struct device *video, struct video_buffer *capbuf)
{
	bool was_open[UVC_NUM_CAMERAS] = { false };

	while (!capture_halted) {
		bool any_open = false;
		bool progressed = false;

		for (uint8_t cam = 0; cam < UVC_NUM_CAMERAS; cam++) {
			bool open = uvc_stream_open(uvc_cam_devs[cam]);
			bool closed_now = was_open[cam] && !open;

			if (open != was_open[cam]) {
				LOG_INF("%s camera stream %s", camera_names[cam],
					open ? "opened" : "closed");
				was_open[cam] = open;
			}

			if (!open) {
				if (jpeg_in_flight[cam] &&
				    (closed_now || uvc_camera_send_expired(cam))) {
					uvc_camera_stream_reset(cam);
				}
				continue;
			}
			any_open = true;

			if (!uvc_camera_buffer_free(cam)) {
				if (uvc_camera_send_expired(cam)) {
					LOG_INF("%s camera: UVC send timed out",
						camera_names[cam]);
					uvc_camera_stream_reset(cam);
				}
				continue;
			}

			if (stream_camera_frame(video, cam, capbuf)) {
				if (capture_halted) {
					break;
				}
				k_msleep(100);	/* Back off; don't busy-loop on failure. */
			} else {
				progressed = true;
			}
		}

		if (!any_open) {
			k_msleep(10);
		} else if (!progressed) {
			k_msleep(1);	/* Both open streams are still sending. */
		}
	}

	return -EIO;
}
#endif /* UVC_DUAL_CAMERA */

int main(void)
{
	struct video_buffer *buffers[N_CAPTURE_BUFFERS];
	struct usbd_context *sample_usbd;
	const struct device *video;
	const struct device *uvc_src;
	int ret;

#if UVC_OUTPUT_MJPEG
	video = DEVICE_DT_GET_ONE(vsi_isp_pico);
#else
	video = DEVICE_DT_GET_ONE(alif_cam);
#endif

	if (!device_is_ready(video) || !device_is_ready(uvc_dev)) {
		LOG_ERR("video or UVC device not ready");
		return -ENODEV;
	}
	LOG_INF("- Device name: %s", video->name);

	if (configure_capture_pipeline(video)) {
		return -EIO;
	}

#if UVC_OUTPUT_MJPEG
	if (configure_jpeg_encoder()) {
		return -EIO;
	}
	uvc_src = jpeg_dev;	/* The host sees the encoder's MJPEG output. */
#else
	uvc_src = video;	/* The host sees RGB565 straight from the LP-CAM. */
#endif

	if (alloc_capture_buffers(buffers, N_CAPTURE_BUFFERS)) {
		return -ENOMEM;
	}

	/* Bind the UVC class to the device whose format it advertises, then
	 * bring up USB. The board now enumerates as a webcam (two on the dual
	 * camera build, both fed by the JPEG encoder).
	 */
#if UVC_DUAL_CAMERA
	for (size_t i = 0; i < UVC_NUM_CAMERAS; i++) {
		if (!device_is_ready(uvc_cam_devs[i])) {
			LOG_ERR("UVC device %s not ready", uvc_cam_devs[i]->name);
			return -ENODEV;
		}
		uvc_set_video_dev(uvc_cam_devs[i], uvc_src);
	}
#else
	uvc_set_video_dev(uvc_dev, uvc_src);
#endif

	sample_usbd = sample_usbd_init_device(usbd_msg_cb);
	if (sample_usbd == NULL) {
		LOG_ERR("Failed to initialize USB device");
		return -EIO;
	}

	ret = usbd_enable(sample_usbd);
	if (ret) {
		LOG_ERR("Failed to enable USB: %d", ret);
		return ret;
	}
#if UVC_DUAL_CAMERA
	LOG_INF("UVC webcams enabled - waiting for the host to open a stream.");
	return dual_camera_loop(video, buffers[0]);
#else
	LOG_INF("UVC webcam enabled - waiting for host to open the stream.");
	while (!capture_halted) {
		/*
		 * Wait for the host to commit/open the stream. The UVC class
		 * only reports a format once the host has issued COMMIT.
		 */
		if (!uvc_stream_open(uvc_dev)) {
			k_msleep(10);
			continue;
		}

		if (capture_session_start(video, buffers, N_CAPTURE_BUFFERS)) {
			capture_session_teardown(video);
			if (!capture_halted) {
				k_msleep(100);	/* Back off; don't busy-loop on failure. */
			}
			continue;
		}

		/* Stream frames until the host closes the stream or capture stalls. */
		while (uvc_stream_open(uvc_dev) && capture_and_send(video) == 0) {
		}

		capture_session_teardown(video);
		LOG_INF("Capture session stopped");
	}

	return -EIO;
#endif
}
```

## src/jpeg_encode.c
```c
/*
 * Copyright (C) 2026 Alif Semiconductor.
 * SPDX-License-Identifier: Apache-2.0
 *
 * Hantro VC9000E hardware JPEG-encoder helper. Kept out of main.c because the
 * encode hand-off is encoder-specific plumbing rather than part of the UVC
 * sample story. The whole file compiles away on the RGB565 (non-JPEG) targets.
 */

#include "pipeline.h"

#if UVC_OUTPUT_MJPEG

#include "jpeg_encode.h"

#include <zephyr/kernel.h>
#include <zephyr/drivers/video-controls.h>	/* VIDEO_CID_JPEG_COMPRESSION_QUALITY */
#include <zephyr/drivers/video/video_alif.h>	/* VIDEO_CID_JPEG_INPUT_BUFFER */

#include <zephyr/logging/log.h>
LOG_MODULE_REGISTER(uvc_jpeg, LOG_LEVEL_INF);

int jpeg_encode(const struct device *jdev, struct video_buffer *nv12,
		struct video_buffer *out, size_t *out_len)
{
	struct video_format jfmt = {
		.pixelformat = CAPTURE_FORMAT,
		.width = CAPTURE_WIDTH,
		.height = CAPTURE_HEIGHT,
		.pitch = JPEG_INPUT_PITCH,
	};
	struct video_buffer *deq = NULL;
	uint16_t quality = JPEG_QUALITY;
	int ret;

	ret = video_set_format(jdev, VIDEO_EP_IN, &jfmt);
	if (ret) {
		LOG_ERR("set_format failed: %d", ret);
		return ret;
	}

	ret = video_set_ctrl(jdev, VIDEO_CID_JPEG_COMPRESSION_QUALITY, &quality);
	if (ret) {
		LOG_ERR("set quality failed: %d", ret);
		return ret;
	}

	/* The encoder takes the input frame by address, not via the queue. */
	ret = video_set_ctrl(jdev, VIDEO_CID_JPEG_INPUT_BUFFER, nv12->buffer);
	if (ret) {
		LOG_ERR("set input buffer failed: %d", ret);
		return ret;
	}

	/*
	 * Tell the encoder the exact compressed-data capacity of the output
	 * buffer (total size minus the space reserved for the JPEG header), so
	 * it never writes past the buffer.
	 */
	out->bytesused = out->size - CONFIG_VIDEO_JPEG_HANTRO_VC9000E_HEADER_SIZE;

	ret = video_enqueue(jdev, VIDEO_EP_OUT, out);
	if (ret) {
		LOG_ERR("enqueue failed: %d", ret);
		return ret;
	}

	ret = video_stream_start(jdev);
	if (ret) {
		LOG_ERR("stream_start failed: %d", ret);
		return ret;
	}

	ret = video_dequeue(jdev, VIDEO_EP_OUT, &deq, K_SECONDS(5));
	if (ret) {
		LOG_ERR("dequeue failed: %d", ret);
		video_stream_stop(jdev);
		return ret;
	}

	video_stream_stop(jdev);

	*out_len = deq->bytesused;
	return 0;
}

#endif /* UVC_OUTPUT_MJPEG */
```

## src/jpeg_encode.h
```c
/*
 * Copyright (C) 2026 Alif Semiconductor.
 * SPDX-License-Identifier: Apache-2.0
 */

#ifndef VIDEO_UVC_JPEG_ENCODE_H_
#define VIDEO_UVC_JPEG_ENCODE_H_

#include <stddef.h>
#include <zephyr/device.h>
#include <zephyr/drivers/video.h>

/*
 * Compress one NV12 frame to JPEG with the Hantro hardware encoder.
 *
 * @param jdev     JPEG encoder device (jpeg0).
 * @param nv12     Dequeued ISP output buffer holding the NV12 frame.
 * @param out      Application-owned output buffer for the compressed frame.
 * @param out_len  Set to the compressed length on success.
 *
 * @return 0 on success or a negative errno on failure.
 */
int jpeg_encode(const struct device *jdev, struct video_buffer *nv12,
		struct video_buffer *out, size_t *out_len);

#endif /* VIDEO_UVC_JPEG_ENCODE_H_ */
```

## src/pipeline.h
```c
/*
 * Copyright (C) 2026 Alif Semiconductor.
 * SPDX-License-Identifier: Apache-2.0
 *
 * Build-time pipeline configuration for the UVC webcam sample.
 *
 * The whole sample supports two capture pipelines, chosen automatically from
 * the target's devicetree. This header hides the resulting preprocessor
 * selection so main.c can stay focused on the capture/stream logic:
 *
 *   - MJPEG (E8 DK): a CSI-2 sensor -> ISP (NV12) -> Hantro JPEG encoder. The
 *     sensor and its resolutions are picked from the enabled sensor node.
 *   - RGB565 (E1C / B1 SK): an OV5640 parallel camera off the LP-CAM, streamed
 *     uncompressed.
 *
 * UVC_OUTPUT_MJPEG is the single predicate the rest of the sample switches on.
 */

#ifndef VIDEO_UVC_PIPELINE_H_
#define VIDEO_UVC_PIPELINE_H_

#include <zephyr/devicetree.h>
#include <zephyr/drivers/video.h>
#include <zephyr/sys/util.h>

/* MJPEG when the JPEG hardware encoder (jpeg0) is present, else RGB565. */
#define UVC_OUTPUT_MJPEG DT_NODE_HAS_STATUS_OKAY(DT_NODELABEL(jpeg0))

/*
 * Dual camera (E8 DK): a second UVC device (uvc_standard) streams the
 * standard-port sensor, while "uvc" streams the selfie sensor. Both sensors
 * share the CSI -> ISP -> JPEG pipeline and are captured in turn.
 */
#define UVC_DUAL_CAMERA DT_NODE_HAS_STATUS_OKAY(DT_NODELABEL(uvc_standard))
#define UVC_NUM_CAMERAS (UVC_DUAL_CAMERA ? 2 : 1)
BUILD_ASSERT(!UVC_DUAL_CAMERA || UVC_OUTPUT_MJPEG,
	     "the dual camera pipeline needs the ISP + JPEG encoder");

/* DMA frame-address alignment required by the camera/ISP masters. */
#define CAPTURE_BUF_ALIGN 32U

#if UVC_OUTPUT_MJPEG

/* VIDEO_PIX_FMT_NV12 (the ISP output / JPEG input) is Alif-specific. */
#include <zephyr/drivers/video/video_alif.h>

/*
 * MJPEG stream geometry, per sensor: the MT9M114 streams its native 1280x720,
 * the ARX3A0 its native 560x560, and the OV5675 its full-FOV 1296x972 mode
 * downscaled by the ISP to 1024x768 (4:3, 16-aligned).
 */
#if DT_NODE_EXISTS(DT_NODELABEL(mt9m114_selfie))
#define UVC_FRAME_WIDTH  1280U
#define UVC_FRAME_HEIGHT 720U
#elif DT_NODE_EXISTS(DT_NODELABEL(ov5675_selfie))
#define UVC_FRAME_WIDTH  1024U
#define UVC_FRAME_HEIGHT 768U
#else /* ARX3A0 */
#define UVC_FRAME_WIDTH  560U
#define UVC_FRAME_HEIGHT 560U
#endif

/* Capture = ISP output: NV12 at the stream resolution (1.5 bytes/pixel). */
#define CAPTURE_FORMAT VIDEO_PIX_FMT_NV12
#define CAPTURE_WIDTH  UVC_FRAME_WIDTH
#define CAPTURE_HEIGHT UVC_FRAME_HEIGHT
#define CAPTURE_PITCH  ((CAPTURE_WIDTH * 3U) / 2U)

/* The Hantro encoder consumes its NV12 input with a 16-pixel-aligned pitch. */
#define JPEG_INPUT_PITCH ROUND_UP(CAPTURE_WIDTH, 16)
#define JPEG_QUALITY     50

/*
 * Encoder output buffer: the JPEG header plus the compressed data. The encoder
 * never writes past it; a frame that does not fit fails with -ENOSPC and is
 * dropped. It must not exceed width * height: for MJPEG the UVC class
 * advertises width * height as the maximum frame size
 * (dwMaxVideoFrameBufferSize / dwMaxVideoFrameSize), so a larger frame would
 * overflow the buffers the host sized from it. At JPEG_QUALITY, frames of a
 * camera scene are typically a small fraction of this.
 */
#define JPEG_OUTPUT_MAX_BYTES (CAPTURE_WIDTH * CAPTURE_HEIGHT)
BUILD_ASSERT(JPEG_OUTPUT_MAX_BYTES <= UVC_FRAME_WIDTH * UVC_FRAME_HEIGHT,
	     "the UVC class advertises width * height as the maximum MJPEG frame size");

/*
 * ISP input (sensor) format: RAW10 (Y10P) over MIPI CSI-2, at the sensor's
 * native resolution. The ISP debayers/scales it to the NV12 output above
 * (ARX3A0 and MT9M114 pass through 1:1; OV5675's full-FOV frame is downscaled).
 * The ISP keeps input and output formats separately and must have its input
 * set before stream_start, or it fails with -EINVAL.
 */
#define ISP_INPUT_FORMAT VIDEO_PIX_FMT_Y10P
#if DT_NODE_EXISTS(DT_NODELABEL(mt9m114_selfie))
#define ISP_INPUT_WIDTH  1288U
#define ISP_INPUT_HEIGHT 728U
#elif DT_NODE_EXISTS(DT_NODELABEL(ov5675_selfie))
#define ISP_INPUT_WIDTH  1296U
#define ISP_INPUT_HEIGHT 972U
#else /* ARX3A0 */
#define ISP_INPUT_WIDTH  560U
#define ISP_INPUT_HEIGHT 560U
#endif
#define ISP_INPUT_PITCH (ISP_INPUT_WIDTH * 2U)

#else /* uncompressed RGB565 */

#define UVC_FRAME_WIDTH  480U
#define UVC_FRAME_HEIGHT 272U

/* Capture = LP-CAM output: RGB565 straight from the parallel camera. */
#define CAPTURE_FORMAT      VIDEO_PIX_FMT_RGB565
#define CAPTURE_WIDTH       UVC_FRAME_WIDTH
#define CAPTURE_HEIGHT      UVC_FRAME_HEIGHT
#define UVC_BYTES_PER_PIXEL 2U
#define CAPTURE_PITCH       (CAPTURE_WIDTH * UVC_BYTES_PER_PIXEL)

#endif /* UVC_OUTPUT_MJPEG */

/* Bytes in one captured frame (NV12 or RGB565). */
#define CAPTURE_FRAME_BYTES (CAPTURE_PITCH * CAPTURE_HEIGHT)

#endif /* VIDEO_UVC_PIPELINE_H_ */
```
